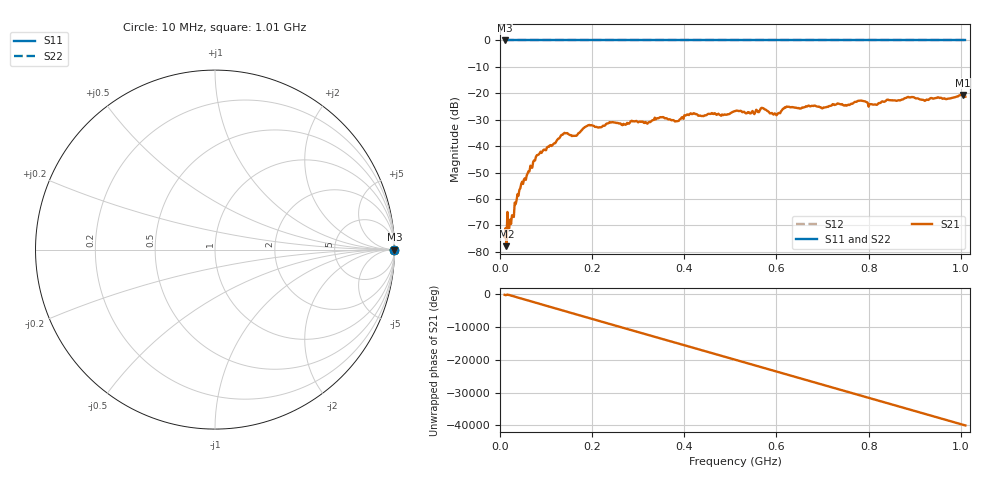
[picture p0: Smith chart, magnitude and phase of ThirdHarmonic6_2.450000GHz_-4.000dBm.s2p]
! 8/17/2025 4:22:08 AM
! C:\ANRITSUVNA\TEMP\TEMP.S2P
! CHANNEL.1
! TR.MEASUREMENT
! RAW.DATA
! RF.CORRECTION.OFF
! AVERAGING.OFF
! IF.BANDWIDTH: 5KHZ
! SWEEPTYPE:  FREQ.SWEEP(Linear)
! Reference Plane Port Info
! PORT:  PORT1  PORT2
! DISTANCE:  0  m  0  m
! TIME:  0  s  0  s
! PHASE.OFFSET:  0  deg.  0  deg.
! LOSS:  0  dB  0  dB
! REF.LOSS:  0  dB  0  dB
! REF.FREQ:  0  Hz  0  Hz
! Power Info
! POWER:  -20  dBm  -20  dBm
! EFF.POWER:  -20  dBm  -20  dBm
! SOURCE.ATTEN:  0  dB  0  dB
! TEST.ATTEN:  0  dB  0  dB
# GHZ S RI R 50.0
! FREQ.GHZ  S11RE  S11IM  S21RE  S21IM  S12RE  S12IM  S22RE  S22IM
!; PortSelection: Port_12
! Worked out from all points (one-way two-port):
!   501 points, 10 MHz to 1.01 GHz, reference 50 ohm
!   highest |S21| = -20.63 dB at 1.004 GHz (marker M1); lowest = -77.9 dB at 14 MHz (marker M2)
!   lowest |S11| = 0.0 dB at 10 MHz (marker M3)
!   |S11| at or under -10 dB: nowhere
!   |S22| runs from 0.0 to 0.0 dB; largest |S21 - S12| = 1.1
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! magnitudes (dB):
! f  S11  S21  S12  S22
! 10 MHz  0.0  -74.4  0.0  0.0
! 14 MHz  0.0  -77.9  0.0  0.0
! 26 MHz  0.0  -66.2  0.0  0.0
! 46 MHz  0.0  -54.3  0.0  0.0
! 82 MHz  0.0  -43.3  0.0  0.0
! 136 MHz  0.0  -35.7  0.0  0.0
! 164 MHz  0.0  -36.1  0.0  0.0
! 178 MHz  0.0  -33.9  0.0  0.0
! 194 MHz  0.0  -32.0  0.0  0.0
! 344 MHz  0.0  -29.5  0.0  0.0
! 384 MHz  0.0  -30.6  0.0  0.0
! 416 MHz  0.0  -27.9  0.0  0.0
! 510 MHz  0.0  -26.7  0.0  0.0
! 570 MHz  0.0  -25.6  0.0  0.0
! 598 MHz  0.0  -27.9  0.0  0.0
! 622 MHz  0.0  -25.0  0.0  0.0
! 678 MHz  0.0  -24.7  0.0  0.0
! 782 MHz  0.0  -22.8  0.0  0.0
! 814 MHz  0.0  -24.2  0.0  0.0
! 844 MHz  0.0  -22.6  0.0  0.0
! 1.004 GHz  0.0  -20.6  0.0  0.0
! 1.01 GHz  0.0  -21.3  0.0  0.0
